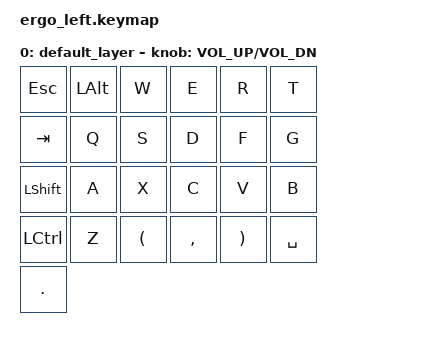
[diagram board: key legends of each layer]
#include <behaviors.dtsi>
#include <dt-bindings/zmk/keys.h>
#include <dt-bindings/zmk/bt.h>

/ {
    keymap {
        compatible = "zmk,keymap";

        default_layer {
            bindings = <
                &kp ESC   &kp LALT  &kp W     &kp E     &kp R     &kp T
                &kp TAB   &kp Q     &kp S     &kp D     &kp F     &kp G
                &kp LSHFT &kp A     &kp X     &kp C     &kp V     &kp B
                &kp LCTRL &kp Z     &kp LPAR  &kp COMMA &kp RPAR  &kp SPACE
                &kp DOT
            >;

            sensor-bindings = <&inc_dec_kp C_VOL_UP C_VOL_DN>;
        };
    };
};
